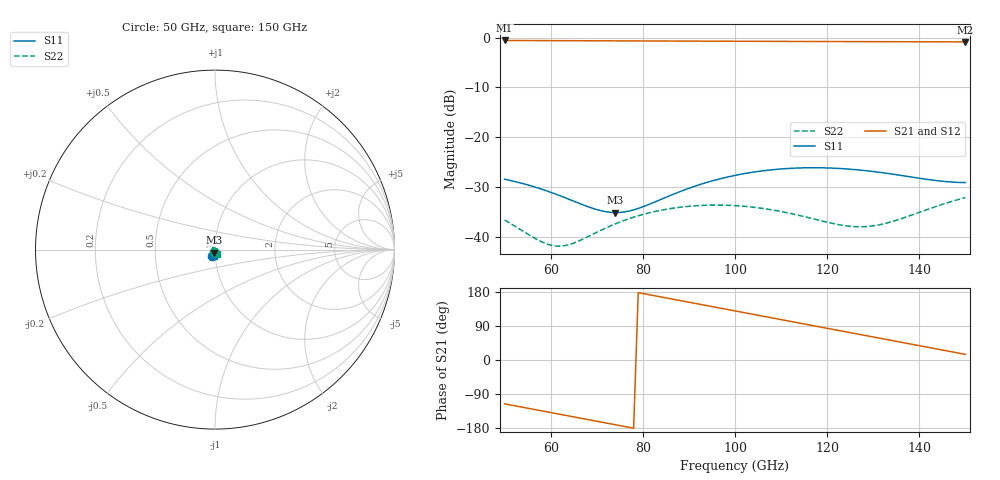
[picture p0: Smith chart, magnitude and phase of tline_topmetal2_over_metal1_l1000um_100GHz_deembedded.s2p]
! Created with skrf 2.0.1 (http://scikit-rf.org).
# GHz S DB R 50.0
!freq dBS11 angS11 dBS21 angS21 dBS12 angS12 dBS22 angS22
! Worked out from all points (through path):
!   101 points, 50 GHz to 150 GHz, reference 50 ohm
!   highest |S21| = -0.55 dB at 50 GHz (marker M1); lowest = -0.8 dB at 150 GHz (marker M2)
!   group delay of S21, straight-line fit = 6.37 ps
!   lowest |S11| = -35.2 dB at 74 GHz (marker M3), VSWR 1.04, Z = 49.6 - j1.69 ohm
!   |S11| at or under -10 dB: start of sweep to end of sweep
!   |S22| runs from -41.9 to -32.1 dB; largest |S21 - S12| = 1.1e-14
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50  -28.46 -115.4  -0.55 -115.7  -0.55 -115.7  -36.68 -120.5
57  -30.16 -123.7  -0.57 -131.8  -0.57 -131.8  -40.57 -116.5
60  -31.09 -125.4  -0.58 -138.7  -0.58 -138.7  -41.73 -106.9
63  -32.14 -125.4  -0.59 -145.6  -0.59 -145.6  -41.84 -95.0
67  -33.61 -121.6  -0.61 -154.7  -0.61 -154.7  -40.51 -84.2
71  -34.82 -112.4  -0.62 -163.9  -0.62 -163.9  -38.70 -82.0
74  -35.18 -102.5  -0.63 -170.8  -0.63 -170.8  -37.46 -84.4
78  -34.63 -89.2  -0.64 -180.0  -0.64 -180.0  -36.10 -90.9
84  -32.50 -77.6  -0.66 166.3  -0.66 166.3  -34.69 -104.8
88  -30.98 -75.5  -0.67 157.1  -0.67 157.1  -34.11 -115.7
92  -29.65 -76.2  -0.68 147.9  -0.68 147.9  -33.77 -127.6
100  -27.69 -82.1  -0.71 129.6  -0.71 129.6  -33.78 -153.9
105  -26.90 -87.2  -0.72 118.1  -0.72 118.1  -34.21 -172.3
109  -26.48 -91.5  -0.73 108.9  -0.73 108.9  -34.79 171.5
113  -26.23 -95.9  -0.75 99.7  -0.75 99.7  -35.55 153.6
117  -26.15 -100.0  -0.76 90.6  -0.76 90.6  -36.44 133.3
121  -26.23 -103.8  -0.77 81.4  -0.77 81.4  -37.32 109.8
126  -26.53 -107.8  -0.78 69.9  -0.78 69.9  -38.01 75.6
130  -26.92 -110.0  -0.79 60.8  -0.79 60.8  -37.84 46.1
134  -27.42 -111.1  -0.80 51.6  -0.80 51.6  -37.01 18.0
142  -28.53 -108.7  -0.82 33.2  -0.82 33.2  -34.47 -29.2
150  -29.14 -99.8  -0.84 14.8  -0.84 14.8  -32.15 -66.7
